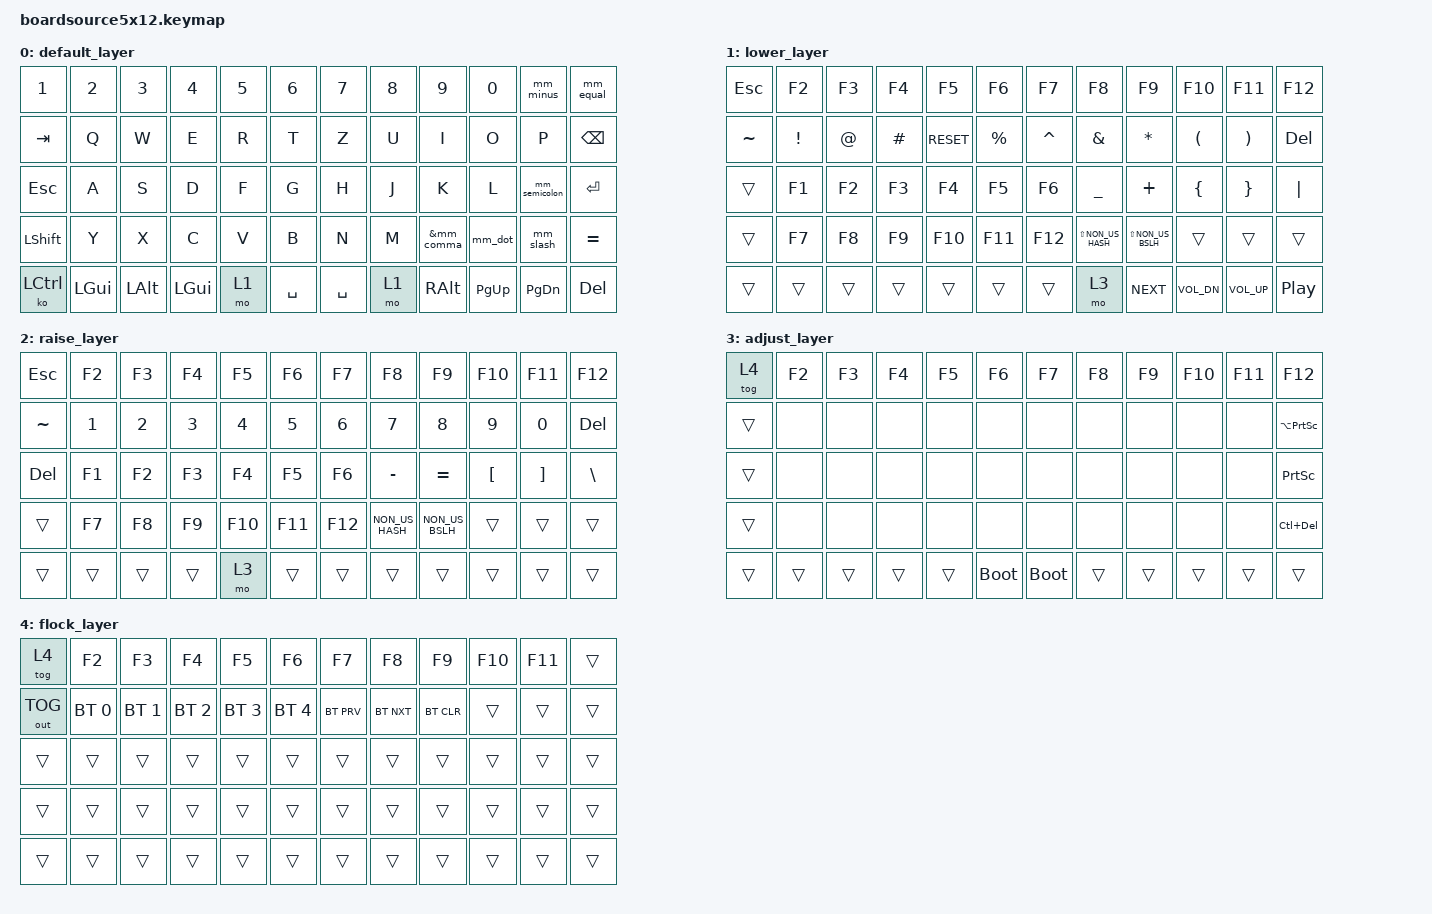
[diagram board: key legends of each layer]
/*
 * Copyright (c) 2021 The ZMK Contributors
 *
 * SPDX-License-Identifier: MIT
 */
 
#include <behaviors.dtsi>
#include <dt-bindings/zmk/keys.h>
#include <dt-bindings/zmk/bt.h>
#include <dt-bindings/zmk/outputs.h>

#define DE_SLASH        RS(N7)
#define DE_QUESTION     RS(MINUS)
#define DE_LT    	NON_US_BACKSLASH
#define DE_MT    	RS(DE_LT)

#define DE_COLON    	RS(DOT)
#define DE_SEMICOLON    RS(COMMA)
#define DE_OE    	SEMICOLON
#define DE_AE    	SINGLE_QUOTE
#define DE_UE    	LEFT_BRACKET
#define DE_PLUS    	RIGHT_BRACKET
#define DE_SS    	MINUS
#define DE_BACKSLASH    RA(MINUS)
#define DE_MINUS        SLASH
#define DE_EQUAL        RS(N0)
#define DE_UNDERSCORE   RS(SLASH)
#define DE_PIPE		RA(DE_LT)

#define DE_EXCL 	RS(N1)
#define DE_QUOTEDOUBLE 	RS(N2)
#define DE_HASH 	BACKSLASH
#define DE_QUOTESINGLE 	RS(DE_HASH)
#define DE_USD		RS(N4)
#define DE_PERCT	RS(N5)
#define DE_CRRT		GRAVE
#define DE_AMPST	RS(N6)
#define DE_ASRSK	RS(DE_PLUS)
#define DE_BRL_RND	RS(N8)	
#define DE_BRL_CRL	RA(N7)	
#define DE_BRL_SQR	RA(N8)	
#define DE_BRR_RND	RS(N9)
#define DE_BRR_CRL	RA(N0)	
#define DE_BRR_SQR   	RA(N9)	
#define DE_BACKTICK    	EQUAL	
#define DE_TILDE    	RA(DE_PLUS)	
#define DE_AT    	RA(A)	




/ {

	behaviors {
	
		ZMK_MACRO(nfmt,
		wait-ms = <0>;
		tap-ms = <0>;
		bindings
		= <&macro_tap &kp DE_BRL_CRL &kp N &kp O &kp F &kp O &kp R &kp M &kp A &kp T &kp DE_BRR_CRL >
		;)

		ZMK_MACRO(unshift_question,
		wait-ms = <0>;
		tap-ms = <0>;
		bindings
		= <&macro_release &kp LSHFT>
		, <&macro_tap &kp DE_QUESTION>
		, <&macro_press &kp LSHFT>
		, <&macro_pause_for_release>;)
	
		ZMK_MACRO(unshift_lt,
		wait-ms = <0>;
		tap-ms = <0>;
		bindings
		= <&macro_release &kp LSHFT>
		, <&macro_tap &kp DE_LT>
		, <&macro_press &kp LSHFT>
		, <&macro_pause_for_release>;)
	
		ZMK_MACRO(unshift_mt,
		wait-ms = <0>;
		tap-ms = <0>;
		bindings
		= <&macro_release &kp LSHFT>
		, <&macro_tap &kp DE_MT>
		, <&macro_press &kp LSHFT>
		, <&macro_pause_for_release>;)
	
		ZMK_MACRO(unshift_colon,
		wait-ms = <0>;
		tap-ms = <0>;
		bindings
		= <&macro_release &kp LSHFT>
		, <&macro_tap &kp DE_COLON>
		, <&macro_press &kp LSHFT>
		, <&macro_pause_for_release>;)
		
		ZMK_MACRO(unshift_underscore,
		wait-ms = <0>;
		tap-ms = <0>;
		bindings
		= <&macro_release &kp LSHFT>
		, <&macro_tap &kp DE_UNDERSCORE>
		, <&macro_press &kp LSHFT>
		, <&macro_pause_for_release>;)

		ZMK_MACRO(unshift_plus,
		wait-ms = <0>;
		tap-ms = <0>;
		bindings
		= <&macro_release &kp LSHFT>
		, <&macro_tap &kp DE_PLUS>
		, <&macro_press &kp LSHFT>
		, <&macro_pause_for_release>;)
		

		ZMK_MACRO(unshift_excl,
		wait-ms = <0>;
		tap-ms = <0>;
		bindings
		= <&macro_release &kp LSHFT>
		, <&macro_tap &kp DE_EXCL>
		, <&macro_press &kp LSHFT>
		, <&macro_pause_for_release>;)
		
		ZMK_MACRO(unshift_hash,
		wait-ms = <0>;
		tap-ms = <0>;
		bindings
		= <&macro_release &kp LSHFT>
		, <&macro_tap &kp DE_HASH>
		, <&macro_press &kp LSHFT>
		, <&macro_pause_for_release>;)
		
		ZMK_MACRO(unshift_usd,
		wait-ms = <0>;
		tap-ms = <0>;
		bindings
		= <&macro_release &kp LSHFT>
		, <&macro_tap &kp DE_USD>
		, <&macro_press &kp LSHFT>
		, <&macro_pause_for_release>;)
		
		ZMK_MACRO(unshift_perc,
		wait-ms = <0>;
		tap-ms = <0>;
		bindings
		= <&macro_release &kp LSHFT>
		, <&macro_tap &kp DE_PERCT>
		, <&macro_press &kp LSHFT>
		, <&macro_pause_for_release>;) 
		
		ZMK_MACRO(unshift_crrt,
		wait-ms = <0>;
		tap-ms = <0>;
		bindings
		= <&macro_release &kp LSHFT>
		, <&macro_tap &kp DE_CRRT>
		, <&macro_press &kp LSHFT>
		, <&macro_pause_for_release>;)
		
		ZMK_MACRO(unshift_ampst,
		wait-ms = <0>;
		tap-ms = <0>;
		bindings
		= <&macro_release &kp LSHFT>
		, <&macro_tap &kp DE_AMPST>
		, <&macro_press &kp LSHFT>
		, <&macro_pause_for_release>;)
		
		ZMK_MACRO(unshift_asrsk,
		wait-ms = <0>;
		tap-ms = <0>;
		bindings
		= <&macro_release &kp LSHFT>
		, <&macro_tap &kp DE_ASRSK>
		, <&macro_press &kp LSHFT>
		, <&macro_pause_for_release>;) 
		
		ZMK_MACRO(unshift_quotedouble,
		wait-ms = <0>;
		tap-ms = <0>;
		bindings
		= <&macro_release &kp LSHFT>
		, <&macro_tap &kp DE_QUOTEDOUBLE>
		, <&macro_press &kp LSHFT>
		, <&macro_pause_for_release>;) 
		
		ZMK_MACRO(unshift_quotesingle,
		wait-ms = <0>;
		tap-ms = <0>;
		bindings
		= <&macro_release &kp LSHFT>
		, <&macro_tap &kp DE_QUOTESINGLE>
		, <&macro_press &kp LSHFT>
		, <&macro_pause_for_release>;) 
		
		ZMK_MACRO(unshift_backtick,
		wait-ms = <0>;
		tap-ms = <0>;
		bindings
		= <&macro_release &kp LSHFT>
		, <&macro_tap &kp DE_BACKTICK>
		, <&macro_press &kp LSHFT>
		, <&macro_pause_for_release>;) 
		
		ZMK_MACRO(unshift_backtick,
		wait-ms = <0>;
		tap-ms = <0>;
		bindings
		= <&macro_release &kp LSHFT>
		, <&macro_tap &kp DE_BACKTICK>
		, <&macro_press &kp LSHFT>
		, <&macro_pause_for_release>;) 
		


		ZMK_MACRO(unshift_brl_crl,
		wait-ms = <0>;
		tap-ms = <0>;
		bindings
		= <&macro_release &kp LSHFT>
		, <&macro_tap &kp DE_BRL_CRL>
		, <&macro_press &kp LSHFT>
		, <&macro_pause_for_release>;) 
		
		ZMK_MACRO(unshift_brl_sqr,
		wait-ms = <0>;
		tap-ms = <0>;
		bindings
		= <&macro_release &kp LSHFT>
		, <&macro_tap &kp DE_BRL_SQR>
		, <&macro_press &kp LSHFT>
		, <&macro_pause_for_release>;) 

		ZMK_MACRO(unshift_brr_crl,
		wait-ms = <0>;
		tap-ms = <0>;
		bindings
		= <&macro_release &kp LSHFT>
		, <&macro_tap &kp DE_BRR_CRL>
		, <&macro_press &kp LSHFT>
		, <&macro_pause_for_release>;) 

		ZMK_MACRO(unshift_brr_sqr,
		wait-ms = <0>;
		tap-ms = <0>;
		bindings
		= <&macro_release &kp LSHFT>
		, <&macro_tap &kp DE_BRR_SQR>
		, <&macro_press &kp LSHFT>
		, <&macro_pause_for_release>;) 

		
		
		
		
		
		 mm_comma: mm_comma {
			  compatible = "zmk,behavior-mod-morph";
			  label = "mm_comma";
			  #binding-cells = <0>;
			  bindings = <&kp COMMA>, <&unshift_lt>;
			  mods = <(MOD_LSFT)>;
	    	 }; 
		 
		 mm_dot: mm_dot {
			  compatible = "zmk,behavior-mod-morph";
			  label = "mm_dot";
			  #binding-cells = <0>;
			  bindings = <&kp DOT>, <&unshift_mt>;
			  mods = <(MOD_LSFT)>;
	    	 }; 
		 
		 mm_slash: mm_slash {
			  compatible = "zmk,behavior-mod-morph";
			  label = "mm_slash";
			  #binding-cells = <0>;
			  bindings = <&tdslash>, <&unshift_question>;
			  mods = <(MOD_LSFT)>;
	    	 }; 

		 mm_semicolon: mm_semicolon {
			  compatible = "zmk,behavior-mod-morph";
			  label = "mm_semicolon";
			  #binding-cells = <0>;
			  bindings = <&kp DE_SEMICOLON>, <&unshift_colon>;
			  mods = <(MOD_LSFT)>;
	    	 }; 


		 mm_minus: mm_minus {
			  compatible = "zmk,behavior-mod-morph";
			  label = "mm_minus";
			  #binding-cells = <0>;
			  bindings = <&kp DE_MINUS>, <&unshift_underscore>;
			  mods = <(MOD_LSFT)>;
	    	 }; 
		 
		 
		 mm_equal: mm_equal {
			  compatible = "zmk,behavior-mod-morph";
			  label = "mm_equal";
			  #binding-cells = <0>;
			  bindings = <&kp DE_EQUAL>, <&unshift_plus>;
			  mods = <(MOD_LSFT)>;
	    	 }; 
		 

		 mm_1: mm_1 {
			  compatible = "zmk,behavior-mod-morph";
			  label = "mm_1";
			  #binding-cells = <0>;
			  bindings = <&kp N1>, <&unshift_excl>;
			  mods = <(MOD_LSFT)>;
	    	 }; 
		 mm_2: mm_2 {
			  compatible = "zmk,behavior-mod-morph";
			  label = "mm_2";
			  #binding-cells = <0>;
			  bindings = <&kp N2>, <&tdquote>;
			  mods = <(MOD_LSFT)>;
	    	 }; 
		 mm_3: mm_3 {
			  compatible = "zmk,behavior-mod-morph";
			  label = "mm_3";
			  #binding-cells = <0>;
			  bindings = <&kp N3>, <&unshift_hash>;
			  mods = <(MOD_LSFT)>;
	    	 }; 
		mm_4: mm_4 {
			  compatible = "zmk,behavior-mod-morph";
			  label = "mm_4";
			  #binding-cells = <0>;
			  bindings = <&kp N4>, <&unshift_usd>;
			  mods = <(MOD_LSFT)>;
	    	 };  
		 mm_5: mm_5 {
			  compatible = "zmk,behavior-mod-morph";
			  label = "mm_5";
			  #binding-cells = <0>;
			  bindings = <&kp N5>, <&unshift_perc>;
			  mods = <(MOD_LSFT)>;
	    	 };  
		 mm_6: mm_6 {
			  compatible = "zmk,behavior-mod-morph";
			  label = "mm_6";
			  #binding-cells = <0>;
			  bindings = <&kp N6>, <&unshift_crrt>;
			  mods = <(MOD_LSFT)>;
	    	 };  
		 mm_7: mm_7 {
			  compatible = "zmk,behavior-mod-morph";
			  label = "mm_7";
			  #binding-cells = <0>;
			  bindings = <&kp N7>, <&unshift_ampst>;
			  mods = <(MOD_LSFT)>;
	    	 };  
		 mm_8: mm_8 {
			  compatible = "zmk,behavior-mod-morph";
			  label = "mm_8";
			  #binding-cells = <0>;
			  bindings = <&kp N8>, <&unshift_asrsk>;
			  mods = <(MOD_LSFT)>;
	    	 }; 

		 mm_9: mm_9 {
			  compatible = "zmk,behavior-mod-morph";
			  label = "mm_9";
			  #binding-cells = <0>;
			  bindings = <&kp N9>, <&tdbrl>;
			  mods = <(MOD_LSFT)>;
	    	 }; 

		 mm_0: mm_0 {
			  compatible = "zmk,behavior-mod-morph";
			  label = "mm_0";
			  #binding-cells = <0>;
			  bindings = <&kp N0>, <&tdbrr>;
			  mods = <(MOD_LSFT)>;
	    	 }; 



		tdoe: tdoe {
		    compatible = "zmk,behavior-tap-dance";
		    label = "tdoe";
		    #binding-cells = <0>;
		    tapping-term-ms = <150>;
		    bindings = <&kp O>, <&kp DE_OE>;
		};
		umlhold: umlhold {
		    compatible = "zmk,behavior-hold-tap";
		        flavor = "tap-preferred";

		    label = "umlhold";
		    #binding-cells = <2>;
		    tapping-term-ms = <150>;
		    bindings = <&kp>, <&kp>;
		};
		tdue: tdue {
		    compatible = "zmk,behavior-tap-dance";
		    label = "tdue";
		    #binding-cells = <0>;
		    tapping-term-ms = <150>;
		    bindings = <&kp U>, <&kp DE_UE>;
		};
		
		tdss: tdss {
		    compatible = "zmk,behavior-tap-dance";
		    label = "tdss";
		    #binding-cells = <0>;
		    tapping-term-ms = <150>;
		    bindings = <&kp S>, <&kp DE_SS>;
		};
		
		tdplus: tdplus {
		    compatible = "zmk,behavior-tap-dance";
		    label = "tdplus";
		    #binding-cells = <0>;
		    tapping-term-ms = <200>;
		    bindings = <&kp DE_PLUS>, <&kp DE_EQUAL>;
		};
		tdminus: tdminus {
		    compatible = "zmk,behavior-tap-dance";
		    label = "tdminus";
		    #binding-cells = <0>;
		    tapping-term-ms = <200>;
		    bindings = <&kp DE_MINUS>, <&kp DE_UNDERSCORE>;
		};
		
		tdslash: tdslash {
		    compatible = "zmk,behavior-tap-dance";
		    label = "tdslash";
		    #binding-cells = <0>;
		    tapping-term-ms = <200>;
		    bindings = <&kp DE_SLASH>, <&kp DE_PIPE>, <&kp DE_BACKSLASH>;

		};	
		tdquote: tdquote {
		    compatible = "zmk,behavior-tap-dance";
		    label = "tdquote";
		    #binding-cells = <0>;
		    tapping-term-ms = <200>;
		    bindings = <&unshift_quotesingle>, <&unshift_quotedouble>, <&unshift_backtick>;
		};	
		
		tdbrl: tdbrl {
		    compatible = "zmk,behavior-tap-dance";
		    label = "tdbrl";
		    #binding-cells = <0>;
		    tapping-term-ms = <200>;
		    bindings = <&kp DE_BRL_RND>, <&unshift_brl_crl>, <&unshift_brl_sqr>;

		};	
		
		tdbrr: tdbrr {
		    compatible = "zmk,behavior-tap-dance";
		    label = "tdbrr";
		    #binding-cells = <0>;
		    tapping-term-ms = <200>;
		    bindings = <&kp DE_BRR_RND>, <&unshift_brr_crl>, <&unshift_brr_sqr>;

		};	
		tdq: td {
		    compatible = "zmk,behavior-tap-dance";
		    label = "tdq";
		    #binding-cells = <0>;
		    tapping-term-ms = <200>;
		    bindings = <&kp Q>, <&kp TAB>;

		};	
	};


    keymap {
        compatible = "zmk,keymap";

        default_layer {
            // ------------------------------------------------------------------------------------------
            // |  ESC  |  1   |  2   |  3   |  4   |  5   |   6   |  7    |  8   |  9   |   0   | BSPC  |
            // |  TAB  |  Q   |  W   |  E   |  R   |  T   |   Y   |  U    |  I   |  O   |   P   |  \    |
            // | SHIFT |  A   |  S   |  D   |  F   |  G   |   H   |  J    |  K   |  L   |   ;   |  '    |
            // | CTRL  |  Z   |  X   |  C   |  V   |  B   |   N   |  M    |  ,   |  .   |   /   | ENTER |
            // |ADJUST | LCTL | LALT | LGUI | LOWR | SPACE| SPACE |  RAIS | LARW | DARW | UARW  | RARW  |


            bindings = <
                &kp N1     &kp N2       &kp N3      &kp N4   &kp N5     &kp N6      &kp N7      &kp N8  &kp N9      &kp N0      &mm_minus      &mm_equal 
                &kp TAB    &kp Q        &kp W       &kp E    &kp R      &kp T       &kp Z       &kp U   &kp I       &kp O       &kp P          &kp BSPC
                &kp ESC    &kp A        &kp S       &kp D    &kp F      &kp G       &kp H       &kp J   &kp K       &kp L       &mm_semicolon  &kp RET
                &kp LSHFT  &kp Y        &kp X       &kp C    &kp V      &kp B       &kp N       &kp M   &&mm_comma  &mm_dot     &mm_slash      &kp DE_BACKTICK
                &ko LCTRL  &kp LGUI     &kp LALT    &kp LGUI &mo 1      &kp SPACE   &kp SPACE   &mo 1   &kp RALT    &kp PG_UP   &kp PG_DN      &kp DEL 
            >;
        };

        lower_layer {
            // -------------------------------------------------------------------------------------------
            // |  ESC  |  F2  |  F3  |  F4  |  F5  |  F6  |   F7  |  F8   |  F9  | F10  |  F11  |  F12  |
            // |   ~   |  !   |  @   |  #   |  $   |  %   |   ^   |   &   |  *   |  (   |   )   |  DEL  |
            // |       |  F1  |  F2  |  F3  |  F4  |  F5  |   F6  |   _   |  +   |  {   |   }   |   |   |
            // |       |  F7  |  F8  |  F9  |  F10 |  F11 |   F12 | LS(#) |LS(|) |      |       |       |
            // |       |      |      |      |      |      |       |       | NEXT | Vol- | Vol+ | PLAY   |
            bindings = <
                &kp ESC   &kp F2   &kp F3   &kp F4   &kp F5    &kp F6       &kp F7          &kp F8              &kp F9              &kp F10      &kp F11          &kp F12
                &kp TILDE &kp EXCL &kp AT   &kp HASH &kp C_RESET  &kp PRCNT    &kp CARET       &kp AMPS            &kp ASTRK           &kp LPAR     &kp RPAR         &kp DEL
                &trans    &kp F1   &kp F2   &kp F3   &kp F4    &kp F5       &kp F6          &kp UNDER           &kp PLUS            &kp LBRC     &kp RBRC         &kp PIPE
                &trans    &kp F7   &kp F8   &kp F9   &kp F10   &kp F11      &kp F12         &kp LS(NON_US_HASH) &kp LS(NON_US_BSLH) &trans       &trans           &trans
                &trans   &trans   &trans   &trans    &trans    &trans       &trans          &mo 3               &kp C_NEXT          &kp C_VOL_DN &kp C_VOL_UP     &kp C_PLAY_PAUSE 
            >;
        };

        raise_layer {
            // ------------------------------------------------------------------------------------------
            // |  ESC  |  F2  |  F3  |  F4  |  F5  |  F6  |  F7   |  F8   |  F9  | F10  |  F11  |  F12  |
            // |   ~   |  1   |  2   |  3   |  4   |  5   |  6    |   7   |  8   |  9   |   0   |  DEL  |
            // |  DEL  |  F1  |  F2  |  F3  |  F4  |  F5  |  F6   |   -   |  =   |  [   |   ]   |   \   |
            // |       |  F7  |  F8  |  F9  |  F10 |  F11 |  F12  |   #   |  |   |      |       |       |
            // |       |      |      |      |      |      |       |       |       |      |      |       |
            bindings = <
                &kp ESC   &kp F2   &kp F3   &kp F4   &kp F5    &kp F6  &kp F7    &kp F8          &kp F9          &kp F10      &kp F11          &kp F12
                &kp TILDE &kp N1   &kp N2   &kp N3   &kp N4    &kp N5  &kp N6    &kp N7          &kp N8          &kp N9       &kp N0           &kp DEL
                &kp DEL   &kp F1   &kp F2   &kp F3   &kp F4    &kp F5  &kp F6    &kp MINUS       &kp EQUAL       &kp LBKT     &kp RBKT         &kp BSLH
                &trans    &kp F7   &kp F8   &kp F9   &kp F10   &kp F11 &kp F12   &kp NON_US_HASH &kp NON_US_BSLH &trans       &trans           &trans
                          &trans   &trans   &trans   &trans    &mo 3   &trans &trans &trans    &trans          &trans          &trans       &trans
            >;
        };

        adjust_layer {
            // ------------------------------------------------------------------------------------------
            // |tog(4)|  F2  |  F3  |  F4  |  F5  |  F6  |  F7  |  F8  |  F9  |  F10 |  F11 |    F12    |
            // |      |  NA  |  NA  |  NA  |  NA  |  NA  |  NA  |  NA  |  NA  |  NA  |  NA  |LALT(PRTSN)|
            // |      |  NA  |  NA  |  NA  |  NA  |  NA  |  NA  |  NA  |  NA  |  NA  |  NA  |   PRTSN   |
            // |      |  NA  |  NA  |  NA  |  NA  |  NA  |  NA  |  NA  |  NA  |  NA  |  NA  |LCTRL(DEL) |
            // |      |      |      |      |      |BOOTLD|BOOTLD|      |      |      |      |           |
            bindings = <
                &tog 4 &kp F2 &kp F3 &kp F4 &kp F5 &kp F6 &kp F7 &kp F8 &kp F9 &kp F10 &kp F11 &kp F12
                &trans &none  &none  &none  &none  &none  &none  &none  &none  &none   &none   &kp LA(PSCRN)
                &trans &none  &none  &none  &none  &none  &none  &none  &none  &none   &none   &kp PSCRN
                &trans &none  &none  &none  &none  &none  &none  &none  &none  &none   &none   &kp LC(DEL)
                &trans &trans &trans &trans &trans &bootloader   &bootloader &trans &trans &trans &trans  &trans
            >;
        };

        flock_layer {
            // ----------------------------------------------------------------------------------------------
            // |tog(4) |  F2    |   F3   |   F4   |   F5   |   F6   |  F7  |  F8  |  F9  | F10 | F11 |      |
            // |out tog|BT_SEL 0|BT_SEL 1|BT_SEL 2|BT_SEL 3|BT_SEL 4|BT_PRV|BT_NXT|BT_CLR|     |     |      |
            // |       |        |        |        |        |        |      |      |      |     |     |      |
            // |       |        |        |        |        |        |      |      |      |     |     |      |
            // |       |        |        |        |        |        |      |      |      |     |     |      |
            bindings = <
                &tog 4       &kp F2       &kp F3       &kp F4       &kp F5       &kp F6       &kp F7     &kp F8     &kp F9     &kp F10 &kp F11 &trans
                &out OUT_TOG &bt BT_SEL 0 &bt BT_SEL 1 &bt BT_SEL 2 &bt BT_SEL 3 &bt BT_SEL 4 &bt BT_PRV &bt BT_NXT &bt BT_CLR &trans  &trans  &trans
                &trans       &trans       &trans       &trans       &trans       &trans       &trans     &trans     &trans     &trans  &trans  &trans
                &trans       &trans       &trans       &trans       &trans       &trans       &trans     &trans     &trans     &trans  &trans  &trans
                &trans       &trans       &trans       &trans       &trans       &trans       &trans     &trans     &trans     &trans  &trans  &trans
            >;
        };
    };
};
